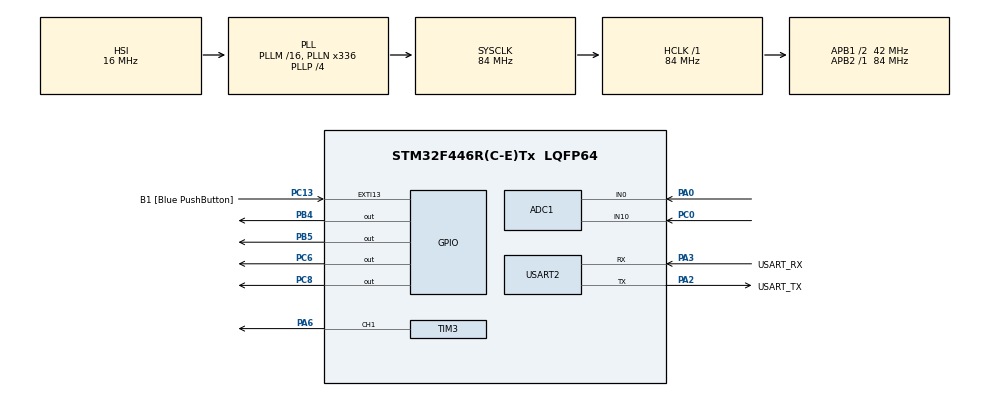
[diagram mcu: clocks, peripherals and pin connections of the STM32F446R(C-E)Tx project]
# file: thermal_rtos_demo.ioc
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ADC1.Channel-0\#ChannelRegularConversion=ADC_CHANNEL_0
ADC1.NbrOfConversionFlag=1
ADC1.Rank-0\#ChannelRegularConversion=1
ADC1.SamplingTime-0\#ChannelRegularConversion=ADC_SAMPLETIME_84CYCLES
ADC1.master=1
FREERTOS.INCLUDE_vTaskDelayUntil=1
FREERTOS.Tasks01=defaultTask,0,128,StartDefaultTask,Default,NULL,Dynamic,NULL,NULL;ControlTask,2,512,Control_Task,Default,NULL,Dynamic,NULL,NULL;InputTask,0,512,Input_Task,Default,NULL,Dynamic,NULL,NULL;LoggingTask,-2,512,Logging_Task,Default,NULL,Dynamic,NULL,NULL
Mcu.Family=STM32F4
Mcu.Name=STM32F446R(C-E)Tx
Mcu.Package=LQFP64
NVIC.EXTI15_10_IRQn=true\:5\:0\:false\:false\:true\:true\:true\:true\:true
NVIC.PriorityGroup=NVIC_PRIORITYGROUP_4
PA0-WKUP.Signal=ADCx_IN0
PA13.GPIO_Label=TMS
PA13.Mode=Serial_Wire
PA13.Signal=SYS_JTMS-SWDIO
PA14.GPIO_Label=TCK
PA14.Mode=Serial_Wire
PA14.Signal=SYS_JTCK-SWCLK
PA2.GPIO_Label=USART_TX
PA2.Mode=Asynchronous
PA2.Signal=USART2_TX
PA3.GPIO_Label=USART_RX
PA3.Mode=Asynchronous
PA3.Signal=USART2_RX
PA6.Signal=S_TIM3_CH1
PB3.GPIO_Label=SWO
PB3.Signal=SYS_JTDO-SWO
PB4.Signal=GPIO_Output
PB5.Signal=GPIO_Output
PC0.Signal=ADCx_IN10
PC13.GPIO_Label=B1 [Blue PushButton]
PC13.GPIO_ModeDefaultEXTI=GPIO_MODE_IT_FALLING
PC13.GPIO_PuPd=GPIO_PULLUP
PC13.Signal=GPXTI13
PC14-OSC32_IN.Mode=LSE-External-Oscillator
PC14-OSC32_IN.Signal=RCC_OSC32_IN
PC15-OSC32_OUT.Mode=LSE-External-Oscillator
PC15-OSC32_OUT.Signal=RCC_OSC32_OUT
PC6.Signal=GPIO_Output
PC8.Signal=GPIO_Output
PH0-OSC_IN.Mode=HSE-External-Oscillator
PH0-OSC_IN.Signal=RCC_OSC_IN
PH1-OSC_OUT.Mode=HSE-External-Oscillator
PH1-OSC_OUT.Signal=RCC_OSC_OUT
ProjectManager.HeapSize=0x200
ProjectManager.StackSize=0x400
ProjectManager.TargetToolchain=STM32CubeIDE
RCC.48MHZClocksFreq_Value=84000000
RCC.AHBFreq_Value=84000000
RCC.APB1CLKDivider=RCC_HCLK_DIV2
RCC.APB1Freq_Value=42000000
RCC.APB1TimFreq_Value=84000000
RCC.APB2Freq_Value=84000000
RCC.APB2TimFreq_Value=84000000
RCC.CortexFreq_Value=84000000
RCC.FLatency-AdvancedSettings=FLASH_LATENCY_2
RCC.HCLKFreq_Value=84000000
RCC.HSE_VALUE=8000000
RCC.HSI_VALUE=16000000
RCC.PLLN=336
RCC.PLLP=RCC_PLLP_DIV4
RCC.SYSCLKFreq_VALUE=84000000
RCC.SYSCLKSource=RCC_SYSCLKSOURCE_PLLCLK
RCC.USBFreq_Value=168000000
RCC.VCOOutputFreq_Value=336000000
SH.ADCx_IN0.0=ADC1_IN0,IN0
SH.ADCx_IN10.0=ADC1_IN10,IN10
SH.S_TIM3_CH1.0=TIM3_CH1,PWM Generation1 CH1
TIM3.Channel-PWM\ Generation1\ CH1=TIM_CHANNEL_1
TIM3.Period=999
TIM3.Prescaler=83
USART2.VirtualMode=VM_ASYNC
VP_FREERTOS_VS_CMSIS_V1.Mode=CMSIS_V1
board=NUCLEO-F446RE

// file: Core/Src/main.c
/* USER CODE BEGIN Header */
/**
  ******************************************************************************
  * @file           : main.c
  * @brief          : Main program body
  ******************************************************************************
  * @attention
  *
  * Copyright (c) 2026 STMicroelectronics.
  * All rights reserved.
  *
  * This software is licensed under terms that can be found in the LICENSE file
  * in the root directory of this software component.
  * If no LICENSE file comes with this software, it is provided AS-IS.
  *
  ******************************************************************************
  */
/* USER CODE END Header */
#include "main.h"
#include "cmsis_os.h"

/* USER CODE BEGIN Includes */
#include "thermal_project_v2.h"
#include "stdio.h"
#include "queue.h"
/* USER CODE END Includes */

ADC_HandleTypeDef hadc1;

TIM_HandleTypeDef htim3;

UART_HandleTypeDef huart2;

osThreadId defaultTaskHandle;
osThreadId ControlTaskHandle;
osThreadId InputTaskHandle;
osThreadId LoggingTaskHandle;
/* USER CODE BEGIN PV */
typedef enum
{
    MODE_NONE = 0,
    MODE_PRESET = 1,
    MODE_POT = 2
} SystemMode_t;

typedef struct
{
    uint8_t mode;
    float set_temp;
    float temp;
} InputMsg_t;

typedef struct
{
    uint32_t time_ms;
    float temp;
    float pwm;
    float fault;
    float set_temp;
    uint8_t mode;
} LogMsg_t;

QueueHandle_t qSetTempHandle;
QueueHandle_t qLogHandle;

volatile uint8_t g_boot_done = 0;
/* USER CODE END PV */

void SystemClock_Config(void);
static void MX_GPIO_Init(void);
static void MX_USART2_UART_Init(void);
static void MX_TIM3_Init(void);
static void MX_ADC1_Init(void);
void StartDefaultTask(void const * argument);
void Control_Task(void const * argument);
void Input_Task(void const * argument);
void Logging_Task(void const * argument);

/* USER CODE BEGIN PFP */
uint32_t Read_ADC_Value(uint32_t channel);
/* USER CODE END PFP */

/* USER CODE BEGIN 0 */
int _write(int file, char *ptr, int len)
{
  HAL_UART_Transmit(&huart2, (uint8_t *)ptr, len, HAL_MAX_DELAY);
  return len;
}
/* USER CODE END 0 */

int main(void)
{

  /* MCU Configuration--------------------------------------------------------*/

  /* Reset of all peripherals, Initializes the Flash interface and the Systick. */
  HAL_Init();

  /* Configure the system clock */
  SystemClock_Config();

  /* Initialize all configured peripherals */
  MX_GPIO_Init();
  MX_USART2_UART_Init();
  MX_TIM3_Init();
  MX_ADC1_Init();
  /* USER CODE BEGIN 2 */
  qSetTempHandle = xQueueCreate(1, sizeof(InputMsg_t));
  qLogHandle     = xQueueCreate(8, sizeof(LogMsg_t));

  if (qSetTempHandle == NULL || qLogHandle == NULL)
  {
      Error_Handler();
  }
  /* USER CODE END 2 */

  /* Create the thread(s) */
  /* definition and creation of defaultTask */
  osThreadDef(defaultTask, StartDefaultTask, osPriorityNormal, 0, 128);
  defaultTaskHandle = osThreadCreate(osThread(defaultTask), NULL);

  /* definition and creation of ControlTask */
  osThreadDef(ControlTask, Control_Task, osPriorityHigh, 0, 512);
  ControlTaskHandle = osThreadCreate(osThread(ControlTask), NULL);

  /* definition and creation of InputTask */
  osThreadDef(InputTask, Input_Task, osPriorityNormal, 0, 512);
  InputTaskHandle = osThreadCreate(osThread(InputTask), NULL);

  /* definition and creation of LoggingTask */
  osThreadDef(LoggingTask, Logging_Task, osPriorityLow, 0, 512);
  LoggingTaskHandle = osThreadCreate(osThread(LoggingTask), NULL);

  /* Start scheduler */
  osKernelStart();

  /* We should never get here as control is now taken by the scheduler */

  /* Infinite loop */
  while (1)
  {

  }
}

void SystemClock_Config(void)
{
  RCC_OscInitTypeDef RCC_OscInitStruct = {0};
  RCC_ClkInitTypeDef RCC_ClkInitStruct = {0};

  /** Configure the main internal regulator output voltage
  */
  __HAL_RCC_PWR_CLK_ENABLE();
  __HAL_PWR_VOLTAGESCALING_CONFIG(PWR_REGULATOR_VOLTAGE_SCALE3);

  /** Initializes the RCC Oscillators according to the specified parameters
  * in the RCC_OscInitTypeDef structure.
  */
  RCC_OscInitStruct.OscillatorType = RCC_OSCILLATORTYPE_HSI;
  RCC_OscInitStruct.HSIState = RCC_HSI_ON;
  RCC_OscInitStruct.HSICalibrationValue = RCC_HSICALIBRATION_DEFAULT;
  RCC_OscInitStruct.PLL.PLLState = RCC_PLL_ON;
  RCC_OscInitStruct.PLL.PLLSource = RCC_PLLSOURCE_HSI;
  RCC_OscInitStruct.PLL.PLLM = 16;
  RCC_OscInitStruct.PLL.PLLN = 336;
  RCC_OscInitStruct.PLL.PLLP = RCC_PLLP_DIV4;
  RCC_OscInitStruct.PLL.PLLQ = 2;
  RCC_OscInitStruct.PLL.PLLR = 2;
  if (HAL_RCC_OscConfig(&RCC_OscInitStruct) != HAL_OK)
  {
    Error_Handler();
  }

  /** Initializes the CPU, AHB and APB buses clocks
  */
  RCC_ClkInitStruct.ClockType = RCC_CLOCKTYPE_HCLK|RCC_CLOCKTYPE_SYSCLK
                              |RCC_CLOCKTYPE_PCLK1|RCC_CLOCKTYPE_PCLK2;
  RCC_ClkInitStruct.SYSCLKSource = RCC_SYSCLKSOURCE_PLLCLK;
  RCC_ClkInitStruct.AHBCLKDivider = RCC_SYSCLK_DIV1;
  RCC_ClkInitStruct.APB1CLKDivider = RCC_HCLK_DIV2;
  RCC_ClkInitStruct.APB2CLKDivider = RCC_HCLK_DIV1;

  if (HAL_RCC_ClockConfig(&RCC_ClkInitStruct, FLASH_LATENCY_2) != HAL_OK)
  {
    Error_Handler();
  }
}

static void MX_ADC1_Init(void)
{

  ADC_ChannelConfTypeDef sConfig = {0};

  /** Configure the global features of the ADC (Clock, Resolution, Data Alignment and number of conversion)
  */
  hadc1.Instance = ADC1;
  hadc1.Init.ClockPrescaler = ADC_CLOCK_SYNC_PCLK_DIV4;
  hadc1.Init.Resolution = ADC_RESOLUTION_12B;
  hadc1.Init.ScanConvMode = DISABLE;
  hadc1.Init.ContinuousConvMode = DISABLE;
  hadc1.Init.DiscontinuousConvMode = DISABLE;
  hadc1.Init.ExternalTrigConvEdge = ADC_EXTERNALTRIGCONVEDGE_NONE;
  hadc1.Init.ExternalTrigConv = ADC_SOFTWARE_START;
  hadc1.Init.DataAlign = ADC_DATAALIGN_RIGHT;
  hadc1.Init.NbrOfConversion = 1;
  hadc1.Init.DMAContinuousRequests = DISABLE;
  hadc1.Init.EOCSelection = ADC_EOC_SINGLE_CONV;
  if (HAL_ADC_Init(&hadc1) != HAL_OK)
  {
    Error_Handler();
  }

  /** Configure for the selected ADC regular channel its corresponding rank in the sequencer and its sample time.
  */
  sConfig.Channel = ADC_CHANNEL_0;
  sConfig.Rank = 1;
  sConfig.SamplingTime = ADC_SAMPLETIME_84CYCLES;
  if (HAL_ADC_ConfigChannel(&hadc1, &sConfig) != HAL_OK)
  {
    Error_Handler();
  }

}

static void MX_TIM3_Init(void)
{

  TIM_MasterConfigTypeDef sMasterConfig = {0};
  TIM_OC_InitTypeDef sConfigOC = {0};

  htim3.Instance = TIM3;
  htim3.Init.Prescaler = 83;
  htim3.Init.CounterMode = TIM_COUNTERMODE_UP;
  htim3.Init.Period = 999;
  htim3.Init.ClockDivision = TIM_CLOCKDIVISION_DIV1;
  htim3.Init.AutoReloadPreload = TIM_AUTORELOAD_PRELOAD_DISABLE;
  if (HAL_TIM_PWM_Init(&htim3) != HAL_OK)
  {
    Error_Handler();
  }
  sMasterConfig.MasterOutputTrigger = TIM_TRGO_RESET;
  sMasterConfig.MasterSlaveMode = TIM_MASTERSLAVEMODE_DISABLE;
  if (HAL_TIMEx_MasterConfigSynchronization(&htim3, &sMasterConfig) != HAL_OK)
  {
    Error_Handler();
  }
  sConfigOC.OCMode = TIM_OCMODE_PWM1;
  sConfigOC.Pulse = 0;
  sConfigOC.OCPolarity = TIM_OCPOLARITY_HIGH;
  sConfigOC.OCFastMode = TIM_OCFAST_DISABLE;
  if (HAL_TIM_PWM_ConfigChannel(&htim3, &sConfigOC, TIM_CHANNEL_1) != HAL_OK)
  {
    Error_Handler();
  }
  HAL_TIM_MspPostInit(&htim3);

}

static void MX_USART2_UART_Init(void)
{

  huart2.Instance = USART2;
  huart2.Init.BaudRate = 115200;
  huart2.Init.WordLength = UART_WORDLENGTH_8B;
  huart2.Init.StopBits = UART_STOPBITS_1;
  huart2.Init.Parity = UART_PARITY_NONE;
  huart2.Init.Mode = UART_MODE_TX_RX;
  huart2.Init.HwFlowCtl = UART_HWCONTROL_NONE;
  huart2.Init.OverSampling = UART_OVERSAMPLING_16;
  if (HAL_UART_Init(&huart2) != HAL_OK)
  {
    Error_Handler();
  }

}

static void MX_GPIO_Init(void)
{
  GPIO_InitTypeDef GPIO_InitStruct = {0};

  /* GPIO Ports Clock Enable */
  __HAL_RCC_GPIOC_CLK_ENABLE();
  __HAL_RCC_GPIOH_CLK_ENABLE();
  __HAL_RCC_GPIOA_CLK_ENABLE();
  __HAL_RCC_GPIOB_CLK_ENABLE();

  /*Configure GPIO pin Output Level */
  HAL_GPIO_WritePin(GPIOC, GPIO_PIN_6|GPIO_PIN_8, GPIO_PIN_RESET);

  /*Configure GPIO pin Output Level */
  HAL_GPIO_WritePin(GPIOB, GPIO_PIN_4|GPIO_PIN_5, GPIO_PIN_RESET);

  /*Configure GPIO pin : B1_Pin */
  GPIO_InitStruct.Pin = B1_Pin;
  GPIO_InitStruct.Mode = GPIO_MODE_IT_FALLING;
  GPIO_InitStruct.Pull = GPIO_PULLUP;
  HAL_GPIO_Init(B1_GPIO_Port, &GPIO_InitStruct);

  /*Configure GPIO pins : PC6 PC8 */
  GPIO_InitStruct.Pin = GPIO_PIN_6|GPIO_PIN_8;
  GPIO_InitStruct.Mode = GPIO_MODE_OUTPUT_PP;
  GPIO_InitStruct.Pull = GPIO_NOPULL;
  GPIO_InitStruct.Speed = GPIO_SPEED_FREQ_LOW;
  HAL_GPIO_Init(GPIOC, &GPIO_InitStruct);

  /*Configure GPIO pins : PB4 PB5 */
  GPIO_InitStruct.Pin = GPIO_PIN_4|GPIO_PIN_5;
  GPIO_InitStruct.Mode = GPIO_MODE_OUTPUT_PP;
  GPIO_InitStruct.Pull = GPIO_NOPULL;
  GPIO_InitStruct.Speed = GPIO_SPEED_FREQ_LOW;
  HAL_GPIO_Init(GPIOB, &GPIO_InitStruct);

  /* EXTI interrupt init*/
  HAL_NVIC_SetPriority(EXTI15_10_IRQn, 5, 0);
  HAL_NVIC_EnableIRQ(EXTI15_10_IRQn);

}

/* USER CODE BEGIN 4 */
/* USER CODE BEGIN 4 */
uint32_t Read_ADC_Value(uint32_t channel)
{
  uint32_t adc_value = 0;
  ADC_ChannelConfTypeDef sConfig = {0};

  sConfig.Channel = channel;
  sConfig.Rank = 1;
  sConfig.SamplingTime = ADC_SAMPLETIME_84CYCLES;

  HAL_ADC_ConfigChannel(&hadc1, &sConfig);

  HAL_ADC_Start(&hadc1);
  HAL_ADC_PollForConversion(&hadc1, HAL_MAX_DELAY);
  adc_value = HAL_ADC_GetValue(&hadc1);
  HAL_ADC_Stop(&hadc1);

  return adc_value;
}

__weak void HAL_GPIO_EXTI_Callback(uint16_t GPIO_Pin)
{

	if (GPIO_Pin == GPIO_PIN_13){
        __HAL_TIM_SET_COMPARE(&htim3, TIM_CHANNEL_1, 0);
        __disable_irq();
        while(1);
	}
}

/* USER CODE END 4 */

void StartDefaultTask(void const * argument)
{
  for(;;)
  {
    osDelay(1);
  }
}

void Control_Task(void const * argument)
{
  /* USER CODE BEGIN Control_Task */

    thermal_project_v2_initialize();

    while (g_boot_done == 0)
    {
        vTaskDelay(pdMS_TO_TICKS(50));
    }

    TickType_t xLastWakeTime = xTaskGetTickCount();
    uint32_t start_time = HAL_GetTick();

    InputMsg_t rxMsg;
    LogMsg_t logMsg;

    if (xQueueReceive(qSetTempHandle, &rxMsg, portMAX_DELAY) != pdPASS)
    {
        Error_Handler();
    }

    //PWM for FAN Setting
    HAL_TIM_PWM_Start(&htim3, TIM_CHANNEL_1);
    HAL_GPIO_WritePin(GPIOC, GPIO_PIN_8, GPIO_PIN_SET);
    HAL_GPIO_WritePin(GPIOC, GPIO_PIN_6, GPIO_PIN_RESET);

    for(;;)
    {
        if (xQueueReceive(qSetTempHandle, &rxMsg, 0) == pdPASS)
        {
        }

        thermal_project_v2_U.set_temp   = rxMsg.set_temp;
        thermal_project_v2_U.temp = rxMsg.temp;

        thermal_project_v2_step();

        float pwm   = (float)thermal_project_v2_Y.pwm_out;
        float fault = (float)thermal_project_v2_Y.fault_flag;
        uint32_t input_pwm = (uint32_t) (pwm * 9.99f);

        // PWM for FAN
        __HAL_TIM_SET_COMPARE(&htim3, TIM_CHANNEL_1, input_pwm);

        if (fault > 0.5f || rxMsg.temp > 70.0f)
        {
            HAL_GPIO_WritePin(GPIOB, GPIO_PIN_4, GPIO_PIN_SET);
            HAL_GPIO_WritePin(GPIOB, GPIO_PIN_5, GPIO_PIN_RESET);
        }
        else
        {
            HAL_GPIO_WritePin(GPIOB, GPIO_PIN_5, GPIO_PIN_SET);
            HAL_GPIO_WritePin(GPIOB, GPIO_PIN_4, GPIO_PIN_RESET);
        }

        logMsg.time_ms  = HAL_GetTick() - start_time;
        logMsg.temp     = rxMsg.temp;
        logMsg.pwm      = pwm;
        logMsg.fault    = fault;
        logMsg.set_temp = rxMsg.set_temp;
        logMsg.mode     = rxMsg.mode;

        xQueueSend(qLogHandle, &logMsg, 0);

        vTaskDelayUntil(&xLastWakeTime, pdMS_TO_TICKS(100));
    }

  /* USER CODE END Control_Task */
}

void Input_Task(void const * argument)
{
  /* USER CODE BEGIN Input_Task */
    InputMsg_t txMsg;
    uint8_t rx_char = 0;

    printf("\r\nSelect mode:\r\n");
    printf("1: preset\r\n");
    printf("2: real sensor\r\n");

    while (1)
    {
        if (HAL_UART_Receive(&huart2, &rx_char, 1, HAL_MAX_DELAY) == HAL_OK)
        {
            if (rx_char == '1')
            {
                txMsg.mode = MODE_PRESET;
                txMsg.set_temp = 45.0f;
                txMsg.temp = 0.0f;

                xQueueOverwrite(qSetTempHandle, &txMsg);
                g_boot_done = 1;
                printf("Preset mode selected\r\n");
                break;
            }
            else if (rx_char == '2')
            {
                uint32_t adc_raw = Read_ADC_Value(ADC_CHANNEL_0);

                txMsg.mode = MODE_POT;
                txMsg.temp = ((float)adc_raw * 330.0f / 4095.0f);
                txMsg.set_temp = 28.0f;

                xQueueOverwrite(qSetTempHandle, &txMsg);
                g_boot_done = 1;
                printf("Real mode selected\r\n");
                break;
            }
            else if (rx_char == '\r' || rx_char == '\n')
            {
            }
            else
            {
                printf("Invalid input: %c\r\n", rx_char);
            }
        }
    }

    for (;;)
    {
        if (g_boot_done && txMsg.mode == MODE_POT)
        {
            uint32_t adc_raw = Read_ADC_Value(ADC_CHANNEL_0);

            txMsg.temp = ((float)adc_raw * 330.0f / 4095.0f);
            txMsg.set_temp = 28.0f;

            xQueueOverwrite(qSetTempHandle, &txMsg);
        }

        vTaskDelay(pdMS_TO_TICKS(100));
    }

  /* USER CODE END Input_Task */
}

void Logging_Task(void const * argument)
{
  /* USER CODE BEGIN Logging_Task */

    LogMsg_t rxLog;
    uint32_t last_print_sec = 0xFFFFFFFF;

    while (g_boot_done == 0)
    {
        vTaskDelay(pdMS_TO_TICKS(50));
    }

    printf("\r\n===== THERMAL CONTROL LOG START =====\r\n");

    for(;;)
    {
        if (xQueueReceive(qLogHandle, &rxLog, portMAX_DELAY) == pdPASS)
        {
            if (rxLog.mode == MODE_PRESET)
            {
                if (rxLog.time_ms <= 30000)
                {
                    printf("[PRESET] t=%.1fs | Set Temp=%.2f C | Temp=%.2f C | PWM=%.2f | Fault=%.0f\r\n",
                           rxLog.time_ms / 1000.0f,
                           rxLog.set_temp,
                           rxLog.temp,
                           rxLog.pwm,
                           rxLog.fault);
                }
            }
            else if (rxLog.mode == MODE_POT)
            {
                uint32_t now_sec = rxLog.time_ms / 1000;

                if (now_sec != last_print_sec)
                {
                    last_print_sec = now_sec;

                    printf("[POT] t=%lus | Now Temp=%.2f C | Set_Temp=%.2f C | PWM=%.2f | Fault=%.0f\r\n",
                           now_sec,
                           rxLog.temp,
                           rxLog.set_temp,
                           rxLog.pwm,
                           rxLog.fault);
                }
            }
        }
    }

  /* USER CODE END Logging_Task */
}

void Error_Handler(void)
{
  __disable_irq();
  while (1)
  {
  }
}
